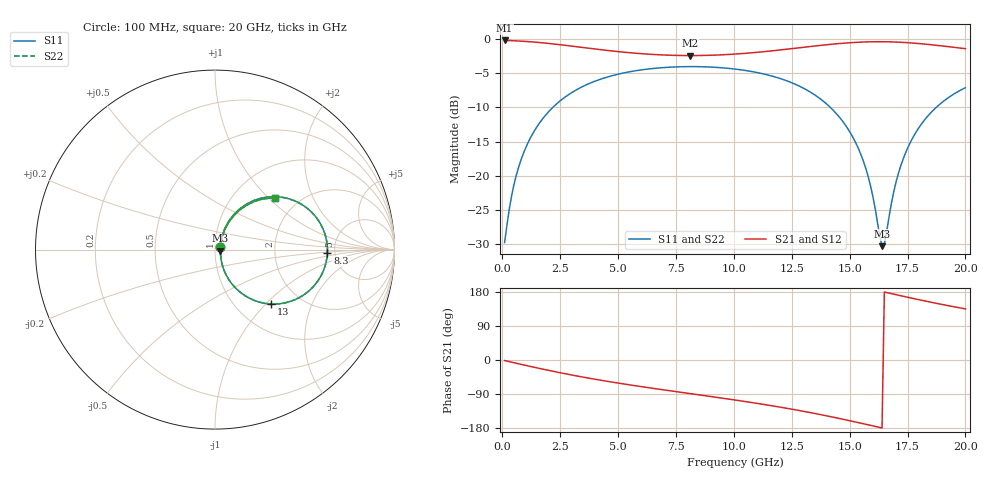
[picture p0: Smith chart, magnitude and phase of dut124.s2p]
! Touchstone file exported from HFSS 2026.1.0
!  File:  C:/ffzhzh/LocalFiles/Ansys_Project_Files/temp_train_TSV_RDL_124_1783048215_46780.aedt
!  Generated:  11:26:44 AM Jul  3, 2026
!  Design:  TSV_RDL
!  Project:  temp_train_TSV_RDL_124_1783048215_46780
! Variables:
!  h_bsmrdl = 2.4um
!  h_ox = 20um
!  h_rdl = 5um
!  h_sub = 97.41um
!  h_tmrdl = 5.63um
!  h_tsv = 97.41um
!  h_via = 3um
!  l_bsmrdl = 741.3um
!  l_sub = 3502.07um
!  l_tmrdl = 192.28um
!  m_sub = 200um
!  pitch = 50.93um
!  r_tsv = 2.92um
!  s_tmrdl = 10um
!  w_bsmrdl = 19.25um
!  w_sub = 500um
!  w_tmrdl = 17.1um
!  x_tsv_center1 = 200.83um
!  x_tsv_center2 = 961.38um
!  x_tsv_center3 = 1170.76um
!  x_tsv_center4 = 1931.31um
!  x_tsv_center5 = 2140.69um
!  x_tsv_center6 = 2901.24um
# GHz S MA R 50.000000
! Terminal data exported
! Port[1] = TM_RDL1_1_T1
! Port[2] = TM_RDL5_1_T1
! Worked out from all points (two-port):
!   200 points, 100 MHz to 20 GHz, reference 50 ohm
!   highest |S21| = -0.25 dB at 100 MHz (marker M1); lowest = -2.5 dB at 8.1 GHz (marker M2)
!   |S21| within 3 dB of the highest: start of sweep to end of sweep
!   lowest |S11| = -30.3 dB at 16.4 GHz (marker M3), VSWR 1.06, Z = 53.1 - j0.572 ohm
!   |S11| at or under -10 dB: start of sweep to 2.187 GHz; 14.16 GHz to 18.75 GHz (4.583 GHz wide, 27.9 % of centre)
!   |S22| runs from -30.3 to -4.1 dB; largest |S21 - S12| = 1.9e-14
!   S11 on the Smith chart (normalised r, x): 100 MHz: 1.06, +0.03; 8.3 GHz: 4.33, -0.27; 13 GHz: 1.44, -1.08; 20 GHz: 1.53, +1.09
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0.1  0.0326 29.0  0.9718 -1.5  0.9718 -1.5  0.0326 29.0
! Gamma 0 0 0 0
! Port Impedance 50 0 50 0
0.5  0.08568 62.3  0.9667 -7.2  0.9667 -7.2  0.08568 62.3
1.2  0.1869 63.5  0.9511 -16.8  0.9511 -16.8  0.1869 63.5
2.2  0.3178 54.4  0.9168 -29.9  0.9168 -29.9  0.3178 54.4
3.5  0.4506 40.9  0.8624 -45.3  0.8624 -45.3  0.4506 40.9
5.2  0.5611 24.5  0.7995 -62.8  0.7995 -62.8  0.5611 24.5
6.8  0.6132 10.6  0.7635 -77.4  0.7635 -77.4  0.6132 10.6
8.1  0.6264 -0.1  0.7539 -88.6  0.7539 -88.6  0.6264 -0.1
8.3  0.6263 -1.7  0.754 -90.3  0.754 -90.3  0.6263 -1.7
10.1  0.5997 -16.7  0.7739 -106.0  0.7739 -106.0  0.5997 -16.8
13  0.4363 -44.0  0.8661 -135.3  0.8661 -135.3  0.4363 -44.0
13.4  0.3989 -48.1  0.8817 -139.9  0.8817 -139.9  0.3988 -48.2
14.5  0.2753 -59.5  0.9212 -153.6  0.9212 -153.6  0.2753 -59.5
15.3  0.1691 -65.8  0.9418 -164.2  0.9418 -164.2  0.169 -65.8
15.9  0.08499 -63.2  0.9501 -172.4  0.9501 -172.4  0.08492 -63.3
16.4  0.03067 -10.1  0.9514 -179.3  0.9514 -179.3  0.03058 -10.0
16.5  0.03188 16.1  0.951 179.3  0.951 179.3  0.03181 16.2
16.7  0.04999 47.9  0.9496 176.5  0.9496 176.5  0.04998 48.0
17.2  0.1171 63.5  0.9426 169.7  0.9426 169.7  0.1171 63.5
17.8  0.1993 61.9  0.9283 161.6  0.9283 161.6  0.1993 61.9
18.7  0.3112 53.8  0.8979 150.1  0.8979 150.1  0.3112 53.9
20  0.4393 40.7  0.8462 134.8  0.8462 134.8  0.4393 40.8
